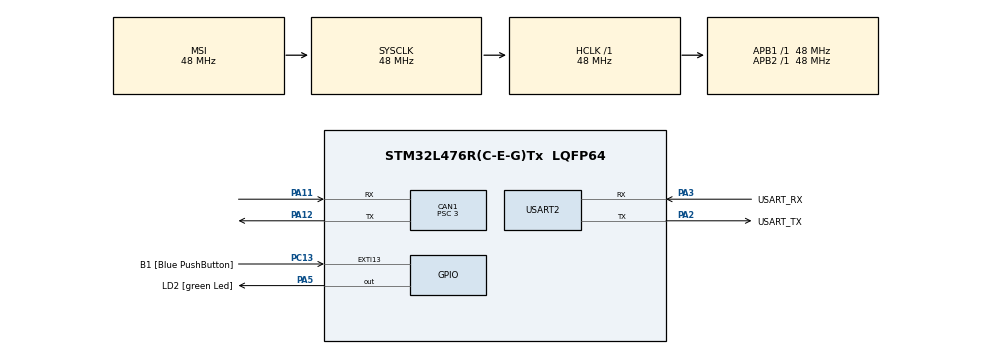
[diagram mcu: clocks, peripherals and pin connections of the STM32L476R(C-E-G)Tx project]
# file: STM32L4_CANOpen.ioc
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CAN1.BS1=CAN_BS1_13TQ
CAN1.BS2=CAN_BS2_2TQ
CAN1.CalculateBaudRate=1000000
CAN1.CalculateTimeBit=1000
CAN1.CalculateTimeQuantum=62.5
CAN1.NART=ENABLE
CAN1.Prescaler=3
Mcu.Family=STM32L4
Mcu.Name=STM32L476R(C-E-G)Tx
Mcu.Package=LQFP64
NVIC.CAN1_RX0_IRQn=true\:0\:0\:false\:false\:true\:true\:true\:true
NVIC.CAN1_SCE_IRQn=true\:0\:0\:false\:false\:true\:true\:true\:true
NVIC.CAN1_TX_IRQn=true\:0\:0\:false\:false\:true\:true\:true\:true
NVIC.PriorityGroup=NVIC_PRIORITYGROUP_4
NVIC.TIM7_IRQn=true\:0\:0\:false\:false\:true\:true\:true\:true
PA11.Mode=CAN_Activate
PA11.Signal=CAN1_RX
PA12.Mode=CAN_Activate
PA12.Signal=CAN1_TX
PA13\ (JTMS-SWDIO).GPIO_Label=TMS
PA13\ (JTMS-SWDIO).Mode=Serial_Wire
PA13\ (JTMS-SWDIO).Signal=SYS_JTMS-SWDIO
PA14\ (JTCK-SWCLK).GPIO_Label=TCK
PA14\ (JTCK-SWCLK).Mode=Serial_Wire
PA14\ (JTCK-SWCLK).Signal=SYS_JTCK-SWCLK
PA2.GPIO_Label=USART_TX
PA2.GPIO_Mode=GPIO_MODE_AF_PP
PA2.GPIO_PuPd=GPIO_NOPULL
PA2.GPIO_Speed=GPIO_SPEED_FREQ_VERY_HIGH
PA2.Mode=Asynchronous
PA2.Signal=USART2_TX
PA3.GPIO_Label=USART_RX
PA3.GPIO_Mode=GPIO_MODE_AF_PP
PA3.GPIO_PuPd=GPIO_NOPULL
PA3.GPIO_Speed=GPIO_SPEED_FREQ_VERY_HIGH
PA3.Mode=Asynchronous
PA3.Signal=USART2_RX
PA5.GPIO_Label=LD2 [green Led]
PA5.GPIO_ModeDefaultOutputPP=GPIO_MODE_OUTPUT_PP
PA5.GPIO_PuPd=GPIO_NOPULL
PA5.GPIO_Speed=GPIO_SPEED_FREQ_LOW
PA5.Signal=GPIO_Output
PB3\ (JTDO-TRACESWO).GPIO_Label=SWO
PB3\ (JTDO-TRACESWO).Signal=SYS_JTDO-SWO
PC13.GPIO_Label=B1 [Blue PushButton]
PC13.GPIO_ModeDefaultEXTI=GPIO_MODE_IT_FALLING
PC13.GPIO_PuPd=GPIO_NOPULL
PC13.Signal=GPXTI13
PC14-OSC32_IN\ (PC14).Mode=LSE-External-Oscillator
PC14-OSC32_IN\ (PC14).Signal=RCC_OSC32_IN
PC15-OSC32_OUT\ (PC15).Mode=LSE-External-Oscillator
PC15-OSC32_OUT\ (PC15).Signal=RCC_OSC32_OUT
PH0-OSC_IN\ (PH0).Signal=RCC_OSC_IN
PH1-OSC_OUT\ (PH1).Signal=RCC_OSC_OUT
ProjectManager.HeapSize=0x200
ProjectManager.StackSize=0x400
ProjectManager.TargetToolchain=STM32CubeIDE
RCC.ADCFreq_Value=64000000
RCC.AHBFreq_Value=48000000
RCC.APB1Freq_Value=48000000
RCC.APB1TimFreq_Value=48000000
RCC.APB2Freq_Value=48000000
RCC.APB2TimFreq_Value=48000000
RCC.CortexFreq_Value=48000000
RCC.HCLKFreq_Value=48000000
RCC.HSE_VALUE=8000000
RCC.HSI_VALUE=16000000
RCC.MSIClockRange=RCC_MSIRANGE_11
RCC.MSI_VALUE=48000000
RCC.PLLN=10
RCC.PLLSourceVirtual=RCC_PLLSOURCE_HSI
RCC.PREFETCH_ENABLE=1
RCC.SYSCLKFreq_VALUE=48000000
RCC.USBFreq_Value=64000000
RCC.VCOOutputFreq_Value=160000000
TIM7.Period=999
TIM7.Prescaler=47
USART2.VirtualMode-Asynchronous=VM_ASYNC
VP_TIM7_VS_ClockSourceINT.Mode=Enable_Timer
board=NUCLEO-L476RG

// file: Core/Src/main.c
/* USER CODE BEGIN Header */
/**
  ******************************************************************************
  * @file           : main.c
  * @brief          : Main program body
  ******************************************************************************
  * @attention
  *
  * Copyright (c) 2026 STMicroelectronics.
  * All rights reserved.
  *
  * This software is licensed under terms that can be found in the LICENSE file
  * in the root directory of this software component.
  * If no LICENSE file comes with this software, it is provided AS-IS.
  *
  ******************************************************************************
  */
/* USER CODE END Header */
#include "main.h"

/* USER CODE BEGIN Includes */
#include <stdio.h>
#include "CO_app_STM32.h"
#include "OD.h"
/* USER CODE END Includes */

CAN_HandleTypeDef hcan1;

TIM_HandleTypeDef htim7;

UART_HandleTypeDef huart2;

void SystemClock_Config(void);
static void MX_GPIO_Init(void);
static void MX_CAN1_Init(void);
static void MX_TIM7_Init(void);
static void MX_USART2_UART_Init(void);

/* USER CODE BEGIN 0 */
int _write(int file, char *ptr, int len)
{
  HAL_UART_Transmit(&huart2, (uint8_t *)ptr, len, HAL_MAX_DELAY);
  return len;
}
/* USER CODE END 0 */

int main(void)
{

  /* MCU Configuration--------------------------------------------------------*/

  /* Reset of all peripherals, Initializes the Flash interface and the Systick. */
  HAL_Init();

  /* Configure the system clock */
  SystemClock_Config();

  /* Initialize all configured peripherals */
  MX_GPIO_Init();
  MX_CAN1_Init();
  MX_TIM7_Init();
  MX_USART2_UART_Init();
  /* USER CODE BEGIN 2 */
  CANopenNodeSTM32 canopenNodeSTM32;				// Create CANOpen Node Instance Struct
  canopenNodeSTM32.CANHandle = &hcan1;				// Pass in CAN Object peripheral handle
  canopenNodeSTM32.HWInitFunction = MX_CAN1_Init;	// Function pointer for re initialization
  canopenNodeSTM32.timerHandle = &htim7;			// 1ms timer handle for CANOpen protocol timing
  canopenNodeSTM32.desiredNodeID = 32;				// This node's ID (1-127) - must be unique on the bus
  canopenNodeSTM32.baudrate = 1000;					// CAN bus speed in kbps - must match the bit timing in configuration
  canopen_app_init(&canopenNodeSTM32);				// Initialize the full CANOpen Stack
  /* USER CODE END 2 */

  /* Infinite loop */
  /* USER CODE BEGIN WHILE */
  while (1)
  {
	  // Make sure to add the LED outputs for CAN Status - this is in the tutorial.
	  canopen_app_process();

	  OD_PERSIST_COMM.x6000_counter++;	// This is how you access raw OD variables in the memory

	  OD_set_u32(OD_find(OD, 0x6000), 0x00, 123, false);	// This is a safer way to access variables and set their values

//	  if (OD_PERSIST_COMM.x6000_counter != old_counter){					// This is a good way to do change of state implementation
//		  CO_TPDOsendRequest(&canopenNodeSTM32.canOpenStack->TPDO[0]);		// This manually transmits the first TPDO
//	  }

	  HAL_Delay(10);
    /* USER CODE END WHILE */

  }
}

void SystemClock_Config(void)
{
  RCC_OscInitTypeDef RCC_OscInitStruct = {0};
  RCC_ClkInitTypeDef RCC_ClkInitStruct = {0};

  /** Configure the main internal regulator output voltage
  */
  if (HAL_PWREx_ControlVoltageScaling(PWR_REGULATOR_VOLTAGE_SCALE1) != HAL_OK)
  {
    Error_Handler();
  }

  /** Configure LSE Drive Capability
  */
  HAL_PWR_EnableBkUpAccess();
  __HAL_RCC_LSEDRIVE_CONFIG(RCC_LSEDRIVE_LOW);

  /** Initializes the RCC Oscillators according to the specified parameters
  * in the RCC_OscInitTypeDef structure.
  */
  RCC_OscInitStruct.OscillatorType = RCC_OSCILLATORTYPE_LSE|RCC_OSCILLATORTYPE_MSI;
  RCC_OscInitStruct.LSEState = RCC_LSE_ON;
  RCC_OscInitStruct.MSIState = RCC_MSI_ON;
  RCC_OscInitStruct.MSICalibrationValue = 0;
  RCC_OscInitStruct.MSIClockRange = RCC_MSIRANGE_11;
  RCC_OscInitStruct.PLL.PLLState = RCC_PLL_NONE;
  if (HAL_RCC_OscConfig(&RCC_OscInitStruct) != HAL_OK)
  {
    Error_Handler();
  }

  /** Initializes the CPU, AHB and APB buses clocks
  */
  RCC_ClkInitStruct.ClockType = RCC_CLOCKTYPE_HCLK|RCC_CLOCKTYPE_SYSCLK
                              |RCC_CLOCKTYPE_PCLK1|RCC_CLOCKTYPE_PCLK2;
  RCC_ClkInitStruct.SYSCLKSource = RCC_SYSCLKSOURCE_MSI;
  RCC_ClkInitStruct.AHBCLKDivider = RCC_SYSCLK_DIV1;
  RCC_ClkInitStruct.APB1CLKDivider = RCC_HCLK_DIV1;
  RCC_ClkInitStruct.APB2CLKDivider = RCC_HCLK_DIV1;

  if (HAL_RCC_ClockConfig(&RCC_ClkInitStruct, FLASH_LATENCY_2) != HAL_OK)
  {
    Error_Handler();
  }

  /** Enable MSI Auto calibration
  */
  HAL_RCCEx_EnableMSIPLLMode();
}

static void MX_CAN1_Init(void)
{

  hcan1.Instance = CAN1;
  hcan1.Init.Prescaler = 3;
  hcan1.Init.Mode = CAN_MODE_NORMAL;
  hcan1.Init.SyncJumpWidth = CAN_SJW_1TQ;
  hcan1.Init.TimeSeg1 = CAN_BS1_13TQ;
  hcan1.Init.TimeSeg2 = CAN_BS2_2TQ;
  hcan1.Init.TimeTriggeredMode = DISABLE;
  hcan1.Init.AutoBusOff = DISABLE;
  hcan1.Init.AutoWakeUp = DISABLE;
  hcan1.Init.AutoRetransmission = ENABLE;
  hcan1.Init.ReceiveFifoLocked = DISABLE;
  hcan1.Init.TransmitFifoPriority = DISABLE;
  if (HAL_CAN_Init(&hcan1) != HAL_OK)
  {
    Error_Handler();
  }

}

static void MX_TIM7_Init(void)
{

  TIM_MasterConfigTypeDef sMasterConfig = {0};

  htim7.Instance = TIM7;
  htim7.Init.Prescaler = 47;
  htim7.Init.CounterMode = TIM_COUNTERMODE_UP;
  htim7.Init.Period = 999;
  htim7.Init.AutoReloadPreload = TIM_AUTORELOAD_PRELOAD_DISABLE;
  if (HAL_TIM_Base_Init(&htim7) != HAL_OK)
  {
    Error_Handler();
  }
  sMasterConfig.MasterOutputTrigger = TIM_TRGO_RESET;
  sMasterConfig.MasterSlaveMode = TIM_MASTERSLAVEMODE_DISABLE;
  if (HAL_TIMEx_MasterConfigSynchronization(&htim7, &sMasterConfig) != HAL_OK)
  {
    Error_Handler();
  }

}

static void MX_USART2_UART_Init(void)
{

  huart2.Instance = USART2;
  huart2.Init.BaudRate = 115200;
  huart2.Init.WordLength = UART_WORDLENGTH_8B;
  huart2.Init.StopBits = UART_STOPBITS_1;
  huart2.Init.Parity = UART_PARITY_NONE;
  huart2.Init.Mode = UART_MODE_TX_RX;
  huart2.Init.HwFlowCtl = UART_HWCONTROL_NONE;
  huart2.Init.OverSampling = UART_OVERSAMPLING_16;
  huart2.Init.OneBitSampling = UART_ONE_BIT_SAMPLE_DISABLE;
  huart2.AdvancedInit.AdvFeatureInit = UART_ADVFEATURE_NO_INIT;
  if (HAL_UART_Init(&huart2) != HAL_OK)
  {
    Error_Handler();
  }

}

static void MX_GPIO_Init(void)
{
  GPIO_InitTypeDef GPIO_InitStruct = {0};

  /* GPIO Ports Clock Enable */
  __HAL_RCC_GPIOC_CLK_ENABLE();
  __HAL_RCC_GPIOH_CLK_ENABLE();
  __HAL_RCC_GPIOA_CLK_ENABLE();
  __HAL_RCC_GPIOB_CLK_ENABLE();

  /*Configure GPIO pin Output Level */
  HAL_GPIO_WritePin(LD2_GPIO_Port, LD2_Pin, GPIO_PIN_RESET);

  /*Configure GPIO pin : B1_Pin */
  GPIO_InitStruct.Pin = B1_Pin;
  GPIO_InitStruct.Mode = GPIO_MODE_IT_FALLING;
  GPIO_InitStruct.Pull = GPIO_NOPULL;
  HAL_GPIO_Init(B1_GPIO_Port, &GPIO_InitStruct);

  /*Configure GPIO pin : LD2_Pin */
  GPIO_InitStruct.Pin = LD2_Pin;
  GPIO_InitStruct.Mode = GPIO_MODE_OUTPUT_PP;
  GPIO_InitStruct.Pull = GPIO_NOPULL;
  GPIO_InitStruct.Speed = GPIO_SPEED_FREQ_LOW;
  HAL_GPIO_Init(LD2_GPIO_Port, &GPIO_InitStruct);

}

/* USER CODE BEGIN 4 */
void HAL_TIM_PeriodElapsedCallback(TIM_HandleTypeDef *htim)		// Connect the timer interrupt to the TPDO stuff
{
  if (htim == &htim7)
  {
    canopen_app_interrupt();
  }
}
/* USER CODE END 4 */

void Error_Handler(void)
{
  __disable_irq();
  while (1)
  {
  }
}
